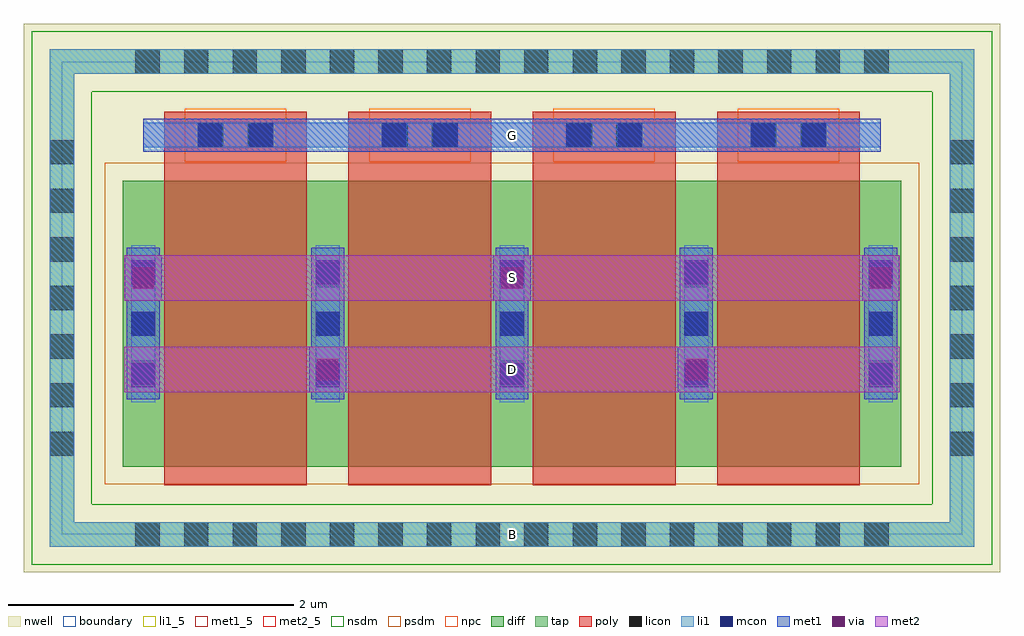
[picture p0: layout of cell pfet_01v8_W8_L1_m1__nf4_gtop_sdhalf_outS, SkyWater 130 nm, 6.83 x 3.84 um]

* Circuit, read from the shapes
.subckt pfet_01v8_W8_L1_m1__nf4_gtop_sdhalf_outS B D G S
XM1 D G S B sky130_fd_pr__pfet_01v8 w=2 l=1 m=4
.ends

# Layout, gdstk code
import gdstk
lib = gdstk.Library(unit=1e-6, precision=1e-09)
def R(c, l, rs):  # rectangles x0, y0, x1, y1
    for r in rs: c.add(gdstk.rectangle(r[:2], r[2:], *l))
def A(c, l, x, y, w, h, nx, ny, dx, dy):  # array of equal rectangles
    R(c, l, [(x+i*dx, y+j*dy, x+i*dx+w, y+j*dy+h) for i in range(nx) for j in range(ny)])
nwell = (64, 20)
diff = (65, 20)
tap = (65, 44)
poly = (66, 20)
licon = (66, 44)
li1_5 = (67, 5)
li1 = (67, 20)
mcon = (67, 44)
met1_5 = (68, 5)
met1 = (68, 20)
via = (68, 44)
met2_5 = (69, 5)
met2 = (69, 20)
nsdm = (93, 44)
psdm = (94, 20)
npc = (95, 20)
boundary = (235, 4)

sky130_fd_pr__pfet_01v8_ = lib.new_cell('sky130_fd_pr__pfet_01v8_T6MGFJ')
R(sky130_fd_pr__pfet_01v8_, nwell, [(-3.415,-1.92,3.415,1.92)])
R(sky130_fd_pr__pfet_01v8_, diff, [(-2.725,-1.18,2.725,0.82)])
R(sky130_fd_pr__pfet_01v8_, tap, [(-3.235,-1.74,3.235,-1.57), (-3.235,-1.57,-3.065,1.57), (3.065,-1.57,3.235,1.57), (-3.235,1.57,3.235,1.74)])
A(sky130_fd_pr__pfet_01v8_, poly, -2.435, -1.31, 1, 2.615, 4, 1, 1.29, 0)
A(sky130_fd_pr__pfet_01v8_, licon, -2.635, -1.74, 0.17, 0.17, 16, 2, 0.34, 3.31)
A(sky130_fd_pr__pfet_01v8_, licon, -3.235, -1.105, 0.17, 0.17, 1, 7, 0, 0.34)
A(sky130_fd_pr__pfet_01v8_, licon, 3.065, -1.105, 0.17, 0.17, 1, 7, 0, 0.34)
A(sky130_fd_pr__pfet_01v8_, licon, -2.665, -0.605, 0.17, 0.17, 5, 3, 1.29, 0.34)
R(sky130_fd_pr__pfet_01v8_, licon, [(-2.19,1.055,-2.02,1.225), (-1.85,1.055,-1.68,1.225), (-0.9,1.055,-0.73,1.225), (-0.56,1.055,-0.39,1.225), (0.39,1.055,0.56,1.225), (0.73,1.055,0.9,1.225), (1.68,1.055,1.85,1.225), (2.02,1.055,2.19,1.225)])
A(sky130_fd_pr__pfet_01v8_, li1, -2.665, -0.73, 0.17, 1.1, 5, 1, 1.29, 0)
R(sky130_fd_pr__pfet_01v8_, li1, [(-3.235,-1.74,3.235,-1.57), (-3.235,-1.57,-3.065,1.57), (3.065,-1.57,3.235,1.57), (-2.58,1.055,2.58,1.225), (-3.235,1.57,3.235,1.74)])
A(sky130_fd_pr__pfet_01v8_, mcon, -2.665, -0.625, 0.17, 0.17, 5, 3, 1.29, 0.36)
R(sky130_fd_pr__pfet_01v8_, mcon, [(-2.2,1.055,-2.03,1.225), (-1.84,1.055,-1.67,1.225), (-0.91,1.055,-0.74,1.225), (-0.55,1.055,-0.38,1.225), (0.38,1.055,0.55,1.225), (0.74,1.055,0.91,1.225), (1.67,1.055,1.84,1.225), (2.03,1.055,2.2,1.225)])
A(sky130_fd_pr__pfet_01v8_, met1, -2.695, -0.71, 0.23, 1.06, 5, 1, 1.29, 0)
A(sky130_fd_pr__pfet_01v8_, met1, -2.415, 1.025, 0.96, 0.03, 4, 2, 1.29, 0.2)
R(sky130_fd_pr__pfet_01v8_, met1, [(-2.58,1.055,2.58,1.225)])
R(sky130_fd_pr__pfet_01v8_, nsdm, [(-3.36,-1.865,3.36,-1.445), (-3.36,-1.445,-2.94,1.445), (2.94,-1.445,3.36,1.445), (-3.36,1.445,3.36,1.865)])
R(sky130_fd_pr__pfet_01v8_, psdm, [(-2.85,-1.305,2.85,0.945)])
A(sky130_fd_pr__pfet_01v8_, npc, -2.29, 0.955, 0.71, 0.37, 4, 1, 1.29, 0)
R(sky130_fd_pr__pfet_01v8_, boundary, [(-3.15,-1.655,3.15,1.655)])
sky130_fd_pr__pfet_01v8_.add(gdstk.Label('B', (0,-1.655), layer=67, texttype=5))
sky130_fd_pr__pfet_01v8_.add(gdstk.Label('D0', (-2.58,-0.18), layer=67, texttype=5))
sky130_fd_pr__pfet_01v8_.add(gdstk.Label('G', (1.935,1.14), layer=67, texttype=5))
sky130_fd_pr__pfet_01v8_.add(gdstk.Label('G', (0.645,1.14), layer=67, texttype=5))
sky130_fd_pr__pfet_01v8_.add(gdstk.Label('G', (-0.645,1.14), layer=67, texttype=5))
sky130_fd_pr__pfet_01v8_.add(gdstk.Label('G', (-1.935,1.14), layer=67, texttype=5))
sky130_fd_pr__pfet_01v8_.add(gdstk.Label('S1', (-1.29,-0.18), layer=67, texttype=5))
sky130_fd_pr__pfet_01v8_.add(gdstk.Label('D2', (0,-0.18), layer=67, texttype=5))
sky130_fd_pr__pfet_01v8_.add(gdstk.Label('S3', (1.29,-0.18), layer=67, texttype=5))

pfet_01v8_w8_l1_m1__nf4_ = lib.new_cell('pfet_01v8_W8_L1_m1__nf4_gtop_sdhalf_outS')
R(pfet_01v8_w8_l1_m1__nf4_, li1_5, [(3.065,-0.085,3.235,0.085)])
R(pfet_01v8_w8_l1_m1__nf4_, li1, [(3.065,-0.085,3.235,0.085)])
R(pfet_01v8_w8_l1_m1__nf4_, met1_5, [(0.57,2.68,5.73,2.91)])
A(pfet_01v8_w8_l1_m1__nf4_, met1, 0.44, 1.635, 0.26, 0.32, 3, 1, 2.58, 0)
R(pfet_01v8_w8_l1_m1__nf4_, met1, [(1.73,0.995,1.99,1.315), (4.31,0.995,4.57,1.315), (0.57,2.68,5.73,2.91)])
A(pfet_01v8_w8_l1_m1__nf4_, via, 0.495, 1.72, 0.15, 0.15, 3, 1, 2.58, 0)
R(pfet_01v8_w8_l1_m1__nf4_, via, [(1.785,1.08,1.935,1.23), (4.365,1.08,4.515,1.23)])
R(pfet_01v8_w8_l1_m1__nf4_, met2_5, [(0.435,0.995,5.865,1.315), (0.435,1.635,5.865,1.955)])
R(pfet_01v8_w8_l1_m1__nf4_, met2, [(0.435,0.995,5.865,1.315), (0.435,1.635,5.865,1.955)])
pfet_01v8_w8_l1_m1__nf4_.add(gdstk.Reference(sky130_fd_pr__pfet_01v8_, (3.15,1.655)))
pfet_01v8_w8_l1_m1__nf4_.add(gdstk.Label('S', (3.15,1.795), layer=69, texttype=5))
pfet_01v8_w8_l1_m1__nf4_.add(gdstk.Label('D', (3.15,1.155), layer=69, texttype=5))
pfet_01v8_w8_l1_m1__nf4_.add(gdstk.Label('G', (3.15,2.795), layer=68, texttype=5))
pfet_01v8_w8_l1_m1__nf4_.add(gdstk.Label('B', (3.15,0), layer=67, texttype=5))

lib.write_gds('pfet_01v8_W8_L1_m1__nf4_gtop_sdhalf_outS.gds')
